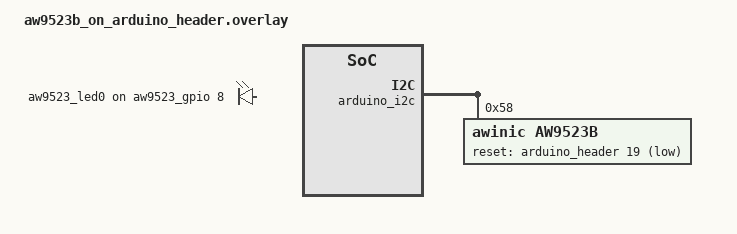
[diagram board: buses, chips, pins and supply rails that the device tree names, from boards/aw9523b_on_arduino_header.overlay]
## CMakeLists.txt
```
# SPDX-License-Identifier: Apache-2.0

cmake_minimum_required(VERSION 3.28.0)
find_package(Zephyr REQUIRED HINTS $ENV{ZEPHYR_BASE})
project(gpio_basic_api)

FILE(GLOB app_sources src/*.c)
target_sources(app PRIVATE ${app_sources})
```

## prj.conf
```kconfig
CONFIG_ZTEST=y
CONFIG_GPIO=y
```

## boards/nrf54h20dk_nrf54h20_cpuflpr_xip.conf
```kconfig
# Copyright (c) 2026 Nordic Semiconductor ASA
# SPDX-License-Identifier: Apache-2.0

CONFIG_GPIO_NRFX_INTERRUPT=n
```

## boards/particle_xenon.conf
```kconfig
CONFIG_I2C=y
CONFIG_GPIO_SX1509B_INTERRUPT=y
```

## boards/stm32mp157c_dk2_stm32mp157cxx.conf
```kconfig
# Copyright (c) 2019 Linaro Limited
# SPDX-License-Identifier: Apache-2.0


CONFIG_RAM_CONSOLE_BUFFER_SIZE=80000
```

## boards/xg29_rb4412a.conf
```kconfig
CONFIG_GPIO_GECKO=n
CONFIG_GPIO_SILABS=y
```

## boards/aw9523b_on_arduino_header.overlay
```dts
&arduino_i2c {
	status = "okay";

	aw9523b@58 {
		compatible = "awinic,aw9523b";
		reg = <0x58>;
		reset-gpios = <&arduino_header 19 (GPIO_ACTIVE_LOW | GPIO_PULL_UP)>;
		status = "okay";

		aw9523_gpio: gpio {
			compatible = "awinic,aw9523b-gpio";
			gpio-controller;
			#gpio-cells = <2>;
			port0-push-pull;
			int-gpios = <&arduino_header 18 (GPIO_ACTIVE_LOW | GPIO_PULL_UP)>;
		};
	};
};

/ {
	leds {
		aw9523_led0: aw9523_led0 {
			gpios = <&aw9523_gpio 8 0>;
		};
	};

	aliases {
		led0 = &aw9523_led0;
	};
};
```

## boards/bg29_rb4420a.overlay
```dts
/*
 * Copyright (c) 2025 Silicon Laboratories Inc.
 *
 * SPDX-License-Identifier: Apache-2.0
 */

/ {
	resources {
		compatible = "test-gpio-external-pulldown";
		gpios = <&gpioc 6 GPIO_ACTIVE_HIGH>;
	};
};
```

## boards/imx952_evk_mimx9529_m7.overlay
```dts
/*
 * SPDX-FileCopyrightText: Copyright 2026 NXP
 *
 * SPDX-License-Identifier: Apache-2.0
 */

/ {
	leds {
		compatible = "gpio-leds";

		test_led: test_led_0 {
			/* GPIO2 IO03 - general purpose GPIO pin on iMX952 EVK */
			gpios = <&gpio2 3 GPIO_ACTIVE_HIGH>;
			label = "Test LED";
		};
	};

	aliases {
		led0 = &test_led;
	};
};
```

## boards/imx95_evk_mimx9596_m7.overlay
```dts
/*
 * Copyright 2026 NXP
 *
 * SPDX-License-Identifier: Apache-2.0
 */

/ {
	leds {
		compatible = "gpio-leds";

		test_led: test_led_0 {
			/* GPIO2 IO00 - general purpose GPIO pin on iMX95 EVK */
			gpios = <&gpio2 3 GPIO_ACTIVE_HIGH>;
			label = "Test LED";
		};
	};

	aliases {
		led0 = &test_led;
	};
};
```

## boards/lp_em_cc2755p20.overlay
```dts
/*
 * Copyright (c) 2026 Texas Instruments Incorporated
 *
 * SPDX-License-Identifier: Apache-2.0
 */

/* DIO12 (led0) has a hardware pull-up on this board; remap to DIO16 */
&led0 {
	gpios = <&gpio0 16 GPIO_ACTIVE_HIGH>;
};
```

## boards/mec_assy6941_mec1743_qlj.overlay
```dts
/*
 * Copyright (c) 2025 Microchip Technologies, Inc.
 *
 * SPDX-License-Identifier: Apache-2.0
 */

/ {
	aliases {
		led0 = &led_3g;
	};

	gpio_led {
		compatible = "gpio-leds";

		led_3g: led_3g {
			gpios = <&gpio_140_176 15 GPIO_ACTIVE_HIGH>;
		};
	};
};
```

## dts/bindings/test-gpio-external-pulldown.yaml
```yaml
#
# Copyright (c) 2024 Andrew Featherstone <andrew.featherstone@gmail.com>
#
# SPDX-License-Identifier: Apache-2.0
#

description: |
    This binding provides resources required to build and run the
    tests/drivers/gpio/gpio_api_1pin test in Zephyr on certain hardware.

compatible: "test-gpio-external-pulldown"

properties:
  gpios:
    type: phandle-array
    required: true
    description: |
      Identity of a GPIO that will be configured as both an output and input.
```

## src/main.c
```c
/*
 * Copyright (c) 2019 Piotr Mienkowski
 *
 * SPDX-License-Identifier: Apache-2.0
 */

#include "test_gpio_api.h"

void test_main(void)
{
	ztest_test_suite(gpio_api_1pin_test,
		ztest_unit_test(test_gpio_pin_configure_push_pull),
		ztest_unit_test(test_gpio_pin_configure_single_ended),
		ztest_unit_test(test_gpio_pin_set_get_raw),
		ztest_unit_test(test_gpio_pin_set_get),
		ztest_unit_test(test_gpio_pin_set_get_active_high),
		ztest_unit_test(test_gpio_pin_set_get_active_low),
		ztest_unit_test(test_gpio_pin_toggle),
		ztest_unit_test(test_gpio_port_set_masked_get_raw),
		ztest_unit_test(test_gpio_port_set_masked_get),
		ztest_unit_test(test_gpio_port_set_masked_get_active_high),
		ztest_unit_test(test_gpio_port_set_masked_get_active_low),
		ztest_unit_test(test_gpio_port_set_bits_clear_bits_raw),
		ztest_unit_test(test_gpio_port_set_bits_clear_bits),
		ztest_unit_test(test_gpio_port_set_clr_bits_raw),
		ztest_unit_test(test_gpio_port_set_clr_bits),
		ztest_unit_test(test_gpio_port_toggle),
		ztest_unit_test(test_gpio_int_edge_rising),
		ztest_unit_test(test_gpio_int_edge_falling),
		ztest_unit_test(test_gpio_int_edge_both),
		ztest_unit_test(test_gpio_int_edge_to_active),
		ztest_unit_test(test_gpio_int_edge_to_inactive),
		ztest_unit_test(test_gpio_int_level_high_interrupt_count_1),
		ztest_unit_test(test_gpio_int_level_high_interrupt_count_5),
		ztest_unit_test(test_gpio_int_level_low_interrupt_count_1),
		ztest_unit_test(test_gpio_int_level_low_interrupt_count_5),
		ztest_unit_test(test_gpio_int_level_active),
		ztest_unit_test(test_gpio_int_level_inactive),
		ztest_unit_test(test_gpio_pin_toggle_visual));
	ztest_run_test_suite(gpio_api_1pin_test);
}
```

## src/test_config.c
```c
/*
 * Copyright (c) 2019 Piotr Mienkowski
 *
 * SPDX-License-Identifier: Apache-2.0
 */


#include <limits.h>
#include <zephyr/sys/util.h>
#include "test_gpio_api.h"

#define TEST_GPIO_MAX_SINGLE_ENDED_RISE_FALL_TIME_MS    100
#define TEST_POINT(n)   (n)

static void pin_get_raw_and_verify(const struct device *port,
				   unsigned int pin,
				   int val_expected, int idx)
{
	int val_actual;

	val_actual = gpio_pin_get_raw(port, pin);
	zassert_true(val_actual >= 0,
		     "Test point %d: failed to get pin value", idx);
	zassert_equal(val_expected, val_actual,
		      "Test point %d: invalid pin get value", idx);
}

static void pin_set_raw_and_verify(const struct device *port,
				   unsigned int pin,
				   int val, int idx)
{
	zassert_equal(gpio_pin_set_raw(port, pin, val), 0,
		      "Test point %d: failed to set pin value", idx);
	k_busy_wait(TEST_GPIO_MAX_RISE_FALL_TIME_US);
}

/** @brief Verify gpio_pin_configure function in push pull mode.
 *
 * - Configure pin in in/out mode, verify that gpio_pin_set_raw /
 *   gpio_pin_get_raw operations change pin state.
 * - Verify that GPIO_OUTPUT_HIGH flag is initializing the pin to high.
 * - Verify that GPIO_OUTPUT_LOW flag is initializing the pin to low.
 * - Verify that configuring the pin as an output without initializing it
 *   to high or low does not change pin state.
 * - Verify that it is not possible to change value of a pin via
 *   gpio_pin_set_raw function if pin is configured as an input.
 */
ZTEST(gpio_api_1pin_conf, test_gpio_pin_configure_push_pull)
{
	const struct device *port;
	int ret;

	port = DEVICE_DT_GET(TEST_NODE);
	zassert_true(device_is_ready(port), "GPIO dev is not ready");

	TC_PRINT("Running test on port=%s, pin=%d\n", port->name, TEST_PIN);

	ret = gpio_pin_configure(port, TEST_PIN, GPIO_OUTPUT);
	zassert_equal(ret, 0, "Failed to configure the pin as an output");

	pin_set_raw_and_verify(port, TEST_PIN, 1, TEST_POINT(1));
	pin_set_raw_and_verify(port, TEST_PIN, 0, TEST_POINT(1));

	/* Configure pin in in/out mode, verify that gpio_pin_set_raw /
	 * gpio_pin_get_raw operations change pin state.
	 */
	ret = gpio_pin_configure(port, TEST_PIN, GPIO_OUTPUT | GPIO_INPUT);
	if (ret == -ENOTSUP) {
		TC_PRINT("Simultaneous pin in/out mode is not supported.\n");
		ztest_test_skip();
		return;
	}
	zassert_equal(ret, 0, "Failed to configure the pin in in/out mode");

	pin_set_raw_and_verify(port, TEST_PIN, 0, TEST_POINT(2));
	pin_get_raw_and_verify(port, TEST_PIN, 0, TEST_POINT(2));

	pin_set_raw_and_verify(port, TEST_PIN, 1, TEST_POINT(3));
	pin_get_raw_and_verify(port, TEST_PIN, 1, TEST_POINT(3));

	pin_set_raw_and_verify(port, TEST_PIN, 0, TEST_POINT(4));
	pin_get_raw_and_verify(port, TEST_PIN, 0, TEST_POINT(4));

	/* Verify that GPIO_OUTPUT_HIGH flag is initializing the pin to high. */
	ret = gpio_pin_configure(port, TEST_PIN, GPIO_OUTPUT_HIGH | GPIO_INPUT);
	zassert_equal(ret, 0,
		      "Failed to configure the pin in in/out mode and "
		      "initialize it to high");

	pin_get_raw_and_verify(port, TEST_PIN, 1, TEST_POINT(5));

	/* Verify that configuring the pin as an output without initializing it
	 * to high or low does not change pin state.
	 */
	ret = gpio_pin_configure(port, TEST_PIN, GPIO_OUTPUT | GPIO_INPUT);
	zassert_equal(ret, 0, "Failed to configure the pin in in/out mode");

	pin_get_raw_and_verify(port, TEST_PIN, 1, TEST_POINT(6));

	/* Verify that GPIO_OUTPUT_LOW flag is initializing the pin to low. */
	ret = gpio_pin_configure(port, TEST_PIN, GPIO_OUTPUT_LOW | GPIO_INPUT);
	zassert_equal(ret, 0,
		      "Failed to configure the pin in in/out mode and "
		      "initialize it to low");

	pin_get_raw_and_verify(port, TEST_PIN, 0, TEST_POINT(7));

	/* Verify that configuring the pin as an output without initializing it
	 * to high or low does not change pin state.
	 */
	ret = gpio_pin_configure(port, TEST_PIN, GPIO_OUTPUT | GPIO_INPUT);
	zassert_equal(ret, 0, "Failed to configure the pin in in/out mode");

	pin_get_raw_and_verify(port, TEST_PIN, 0, TEST_POINT(8));

	/* Verify that it is not possible to change value of a pin via
	 * gpio_pin_set_raw function if pin is configured as an input.
	 */
	ret = gpio_pin_configure(port, TEST_PIN, GPIO_INPUT);
	zassert_equal(ret, 0, "Failed to configure the pin as an input");
	k_busy_wait(TEST_GPIO_MAX_RISE_FALL_TIME_US);

	int pin_in_val;

	pin_in_val = gpio_pin_get_raw(port, TEST_PIN);
	zassert_true(pin_in_val >= 0,
		     "Test point %d: failed to get pin value", TEST_POINT(9));

	pin_set_raw_and_verify(port, TEST_PIN, 0, TEST_POINT(10));
	pin_get_raw_and_verify(port, TEST_PIN, pin_in_val, TEST_POINT(10));

	pin_set_raw_and_verify(port, TEST_PIN, 1, TEST_POINT(11));
	pin_get_raw_and_verify(port, TEST_PIN, pin_in_val, TEST_POINT(11));
}

/** @brief Verify gpio_pin_configure function in single ended mode.
 *
 * @note This test verifies single ended mode only partially. It should not be
 *       used as a sign off test.
 *
 * - Verify that pin configured in Open Drain mode and initialized
 *   to high results in pin high value if the same pin configured
 *   as input is high. Drivers that do not support Open Drain flag
 *   return ENOTSUP.
 * - Setting pin configured in Open Drain mode to low results in
 *   pin low value if the same pin configured as input is high.
 * - Verify that pin configured in Open Source mode and
 *   initialized to low results in pin high value if the same pin
 *   configured as input is high. Drivers that do not support Open
 *   Source flag return ENOTSUP.
 * - Verify that pin configured in Open Source mode and
 *   initialized to low results in pin low value if the same pin
 *   configured as input is low. Drivers that do not support Open
 *   Source flag return ENOTSUP.
 * - Setting pin configured in Open Source mode to high results in
 *   pin high value if the same pin configured as input is low.
 * - Verify that pin configured in Open Drain mode and
 *   initialized to high results in pin low value if the same pin
 *   configured as input is low. Drivers that do not support Open
 *   Drain flag return ENOTSUP.
 */
ZTEST(gpio_api_1pin_conf, test_gpio_pin_configure_single_ended)
{
	const struct device *port;
	int pin_in_val;
	int pin_val;
	unsigned int cfg_flag;
	int ret;

	port = DEVICE_DT_GET(TEST_NODE);
	zassert_true(device_is_ready(port), "GPIO dev is not ready");

	TC_PRINT("Running test on port=%s, pin=%d\n", port->name, TEST_PIN);

	/* If the LED is connected directly between the MCU pin and power or
	 * ground we can test only one of the Open Drain / Open Source modes.
	 * Guess pin level when the LED is off. If the pin is not connected
	 * directly to LED but instead the signal is routed to an input of
	 * another chip we could test both modes. However, there is no way to
	 * find it out so only one mode is tested.
	 */
	if ((TEST_PIN_DTS_FLAGS & GPIO_ACTIVE_LOW) != 0) {
		cfg_flag = GPIO_PULL_UP;
		pin_val = 1;
	} else {
		cfg_flag = GPIO_PULL_DOWN;
		pin_val = 0;
	}

	/* Configure pin as an input with pull up/down and check input level. */
	ret = gpio_pin_configure(port, TEST_PIN, GPIO_INPUT | cfg_flag);
	if (ret == -ENOTSUP) {
		TC_PRINT("Pull Up / Pull Down pin bias is not supported\n");
		ztest_test_skip();
		return;
	}
	zassert_equal(ret, 0, "Failed to configure pin as an input");

	k_sleep(K_MSEC(TEST_GPIO_MAX_SINGLE_ENDED_RISE_FALL_TIME_MS));

	pin_in_val = gpio_pin_get_raw(port, TEST_PIN);
	zassert_true(pin_in_val >= 0, "Failed to get pin value");

	if (pin_val != pin_in_val) {
		TC_PRINT("Board configuration does not allow to run the test\n");
		ztest_test_skip();
		return;
	}

	if (pin_val == 1) {
		TC_PRINT("When configured as input test pin value is high\n");
		/* Verify that pin configured in Open Drain mode and initialized
		 * to high results in pin high value if the same pin configured
		 * as input is high. Drivers that do not support Open Drain flag
		 * return -ENOTSUP.
		 */
		ret = gpio_pin_configure(port, TEST_PIN, GPIO_OUTPUT_HIGH |
				GPIO_OPEN_DRAIN | GPIO_INPUT | GPIO_PULL_UP);
		if (ret == -ENOTSUP) {
			TC_PRINT("Open Drain configuration or Pull Up pin "
				 "bias is not supported\n");
			ztest_test_skip();
			return;
		}
		zassert_equal(ret, 0,
			      "Failed to configure the pin in Open Drain mode");

		pin_get_raw_and_verify(port, TEST_PIN, 1, TEST_POINT(1));

		/* Setting pin configured in Open Drain mode to low results in
		 * pin low value if the same pin configured as input is high.
		 */
		pin_set_raw_and_verify(port, TEST_PIN, 0, TEST_POINT(2));
		pin_get_raw_and_verify(port, TEST_PIN, 0, TEST_POINT(2));

		/* Verify that pin configured in Open Source mode and
		 * initialized to low results in pin high value if the same pin
		 * configured as input is high. Drivers that do not support Open
		 * Source flag return -ENOTSUP.
		 */
		ret = gpio_pin_configure(port, TEST_PIN, GPIO_OUTPUT_LOW |
				GPIO_OPEN_SOURCE | GPIO_INPUT | GPIO_PULL_UP);
		if (ret == -ENOTSUP) {
			TC_PRINT("Open Source configuration or Pull Up pin "
				 "bias is not supported\n");
			return;
		}
		zassert_equal(ret, 0,
			      "Failed to configure the pin in Open Source mode");

		k_sleep(K_MSEC(TEST_GPIO_MAX_SINGLE_ENDED_RISE_FALL_TIME_MS));

		pin_get_raw_and_verify(port, TEST_PIN, 1, TEST_POINT(3));

		pin_set_raw_and_verify(port, TEST_PIN, 0, TEST_POINT(4));
		pin_get_raw_and_verify(port, TEST_PIN, 1, TEST_POINT(4));
	} else {
		TC_PRINT("When configured as input test pin value is low\n");
		/* Verify that pin configured in Open Source mode and
		 * initialized to low results in pin low value if the same pin
		 * configured as input is low. Drivers that do not support Open
		 * Source flag return -ENOTSUP.
		 */
		ret = gpio_pin_configure(port, TEST_PIN, GPIO_OUTPUT_LOW |
				GPIO_OPEN_SOURCE | GPIO_INPUT | GPIO_PULL_DOWN);
		if (ret == -ENOTSUP) {
			TC_PRINT("Open Source configuration or Pull Down pin "
				 "bias is not supported\n");
			ztest_test_skip();
			return;
		}
		zassert_equal(ret, 0,
			      "Failed to configure the pin in Open Source mode");

		pin_get_raw_and_verify(port, TEST_PIN, 0, TEST_POINT(5));

		/* Setting pin configured in Open Source mode to high results in
		 * pin high value if the same pin configured as input is low.
		 */
		pin_set_raw_and_verify(port, TEST_PIN, 1, TEST_POINT(6));
		pin_get_raw_and_verify(port, TEST_PIN, 1, TEST_POINT(6));

		/* Verify that pin configured in Open Drain mode and
		 * initialized to high results in pin low value if the same pin
		 * configured as input is low. Drivers that do not support Open
		 * Drain flag return -ENOTSUP.
		 */
		ret = gpio_pin_configure(port, TEST_PIN, GPIO_OUTPUT_HIGH |
				GPIO_OPEN_DRAIN | GPIO_INPUT | GPIO_PULL_DOWN);
		if (ret == -ENOTSUP) {
			TC_PRINT("Open Drain configuration or Pull Down pin "
				 "bias is not supported\n");
			return;
		}
		zassert_equal(ret, 0,
			      "Failed to configure the pin in Open Drain mode");

		k_sleep(K_MSEC(TEST_GPIO_MAX_SINGLE_ENDED_RISE_FALL_TIME_MS));

		pin_get_raw_and_verify(port, TEST_PIN, 0, TEST_POINT(7));

		pin_set_raw_and_verify(port, TEST_PIN, 1, TEST_POINT(8));
		pin_get_raw_and_verify(port, TEST_PIN, 0, TEST_POINT(8));
	}
}

ZTEST_SUITE(gpio_api_1pin_conf, NULL, NULL, NULL, NULL, NULL);
```

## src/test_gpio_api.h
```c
/*
 * Copyright (c) 2019 Piotr Mienkowski
 *
 * SPDX-License-Identifier: Apache-2.0
 */

#ifndef TEST_GPIO_API_H_
#define TEST_GPIO_API_H_

#include <zephyr/kernel.h>
#include <zephyr/drivers/gpio.h>
#include <zephyr/ztest.h>

/* If possible, use a dedicated GPIO with an external pulldown resistor.
 * Otherwise, fallback to repurposing led0 as a GPIO. The latter won't always
 * work as expected when reconfigured as an input.
 */
#if DT_NODE_HAS_STATUS(DT_INST(0, test_gpio_external_pulldown), okay)
#define TEST_NODE          DT_GPIO_CTLR(DT_INST(0, test_gpio_external_pulldown), gpios)
#define TEST_PIN           DT_GPIO_PIN(DT_INST(0, test_gpio_external_pulldown), gpios)
#define TEST_PIN_DTS_FLAGS DT_GPIO_FLAGS(DT_INST(0, test_gpio_external_pulldown), gpios)
#elif DT_NODE_HAS_PROP(DT_ALIAS(led0), gpios)
#define TEST_NODE          DT_GPIO_CTLR(DT_ALIAS(led0), gpios)
#define TEST_PIN           DT_GPIO_PIN(DT_ALIAS(led0), gpios)
#define TEST_PIN_DTS_FLAGS DT_GPIO_FLAGS(DT_ALIAS(led0), gpios)
#else
#error Unsupported board
#endif

#define TEST_GPIO_MAX_RISE_FALL_TIME_US    200

void test_gpio_pin_configure_push_pull(void);
void test_gpio_pin_configure_single_ended(void);

void test_gpio_pin_set_get_raw(void);
void test_gpio_pin_set_get(void);
void test_gpio_pin_set_get_active_high(void);
void test_gpio_pin_set_get_active_low(void);
void test_gpio_pin_toggle(void);
void test_gpio_pin_toggle_visual(void);

void test_gpio_port_set_masked_get_raw(void);
void test_gpio_port_set_masked_get(void);
void test_gpio_port_set_masked_get_active_high(void);
void test_gpio_port_set_masked_get_active_low(void);
void test_gpio_port_set_bits_clear_bits_raw(void);
void test_gpio_port_set_bits_clear_bits(void);
void test_gpio_port_set_clr_bits_raw(void);
void test_gpio_port_set_clr_bits(void);
void test_gpio_port_toggle(void);

void test_gpio_int_edge_rising(void);
void test_gpio_int_edge_falling(void);
void test_gpio_int_edge_both(void);
void test_gpio_int_edge_to_active(void);
void test_gpio_int_edge_to_inactive(void);
void test_gpio_int_level_high_interrupt_count_1(void);
void test_gpio_int_level_high_interrupt_count_5(void);
void test_gpio_int_level_low_interrupt_count_1(void);
void test_gpio_int_level_low_interrupt_count_5(void);
void test_gpio_int_level_active(void);
void test_gpio_int_level_inactive(void);

#endif /* TEST_GPIO_API_H_ */
```

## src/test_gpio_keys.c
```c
/*
 * Copyright (c) 2022 Google LLC
 *
 * SPDX-License-Identifier: Apache-2.0
 */

#include "zephyr/sys/util.h"
#include <zephyr/device.h>
#include <zephyr/drivers/gpio/gpio_emul.h>
#include <zephyr/kernel.h>
#include <zephyr/logging/log.h>
#include <zephyr/ztest.h>

#include <zephyr/drivers/gpio_keys.h>

LOG_MODULE_REGISTER(gpio_keys_test, LOG_LEVEL_DBG);

#if DT_NODE_EXISTS(DT_NODELABEL(voldown_button))

const struct device *test_gpio_keys_dev = DEVICE_DT_GET(DT_PARENT(DT_NODELABEL(voldown_button)));
#define BUTTON_0_IDX DT_NODE_CHILD_IDX(DT_NODELABEL(voldown_button))
#define BUTTON_1_IDX DT_NODE_CHILD_IDX(DT_NODELABEL(volup_button))

struct gpio_keys_pin_config {
	/** GPIO specification from devicetree */
	struct gpio_dt_spec spec;
	/** Zephyr code from devicetree */
	uint32_t zephyr_code;
};
struct gpio_keys_config {
	/** Debounce interval in milliseconds from devicetree */
	uint32_t debounce_interval_ms;
	const int num_keys;
	const struct gpio_keys_pin_config *pin_cfg;
};

/**
 * @brief Test Suite: Verifies gpio_keys_config functionality.
 */
ZTEST_SUITE(gpio_keys, NULL, NULL, NULL, NULL, NULL);

/**
 * @brief TestPurpose: Verify gpio_keys_config pressed raw.
 *
 */
ZTEST(gpio_keys, test_gpio_keys_pressed)
{
	const struct gpio_keys_config *config = test_gpio_keys_dev->config;
	const struct gpio_keys_pin_config *pin_cfg = &config->pin_cfg[BUTTON_0_IDX];
	const struct gpio_dt_spec *spec = &pin_cfg->spec;

	zassert_ok(gpio_pin_configure(spec->port, spec->pin, GPIO_INPUT));

	zassert_ok(gpio_emul_input_set(spec->port, spec->pin, 1));
	zassert_equal(1, gpio_keys_get_pin(test_gpio_keys_dev, BUTTON_0_IDX));

	zassert_ok(gpio_emul_input_set(spec->port, spec->pin, 0));
	zassert_equal(0, gpio_keys_get_pin(test_gpio_keys_dev, BUTTON_0_IDX));
}

/**
 * @brief TestPurpose: Verify button interrupt.
 *
 */
uint32_t gpio_keys_interrupt_called;
void test_gpio_keys_cb_handler(const struct device *dev, struct gpio_keys_callback *cbdata,
			       uint32_t pins)
{
	LOG_DBG("GPIO_KEY %s pressed, pins=%d, zephyr_code=%u, pin_state=%d", dev->name, pins,
		cbdata->zephyr_code, cbdata->pin_state);
	gpio_keys_interrupt_called = cbdata->zephyr_code;
}

ZTEST(gpio_keys, test_gpio_keys_interrupt)
{
	int button_idx[] = {BUTTON_0_IDX, BUTTON_1_IDX};
	int num_gpio_keys = ARRAY_SIZE(button_idx);
	const struct gpio_keys_config *config = test_gpio_keys_dev->config;
	const struct gpio_keys_pin_config *pin_cfg;
	const struct gpio_dt_spec *spec;

	for (int i = 0; i < num_gpio_keys; i++) {
		pin_cfg = &config->pin_cfg[button_idx[i]];
		spec = &pin_cfg->spec;

		LOG_DBG("GPIO_KEY config=[0x%p, %d]", config->debounce_interval_ms,
			pin_cfg->zephyr_code);
		LOG_DBG("GPIO_KEY spec=[0x%p, %d]", spec->port, spec->pin);

		zassert_ok(gpio_pin_configure(spec->port, spec->pin, GPIO_INPUT));
		zassert_ok(gpio_keys_disable_interrupt(test_gpio_keys_dev), NULL);
		k_sleep(K_MSEC(500));

		/* Check interrupts are disabled */
		gpio_keys_interrupt_called = 0;
		zassert_ok(gpio_emul_input_set(spec->port, spec->pin, 0));
		k_sleep(K_MSEC(1000));
		zassert_ok(gpio_emul_input_set(spec->port, spec->pin, 1));
		k_sleep(K_MSEC(1000));
		zassert_equal(gpio_keys_interrupt_called, 0);

		zassert_ok(
			gpio_keys_enable_interrupt(test_gpio_keys_dev, test_gpio_keys_cb_handler),
			NULL);
		zassert_ok(gpio_emul_input_set(spec->port, spec->pin, 0));
		k_sleep(K_MSEC(1000));

		gpio_keys_interrupt_called = 0;
		zassert_ok(gpio_emul_input_set(spec->port, spec->pin, 1));

		/* Check interrupt doesn't prematurely fires */
		k_sleep(K_MSEC(config->debounce_interval_ms / 2));
		zassert_equal(gpio_keys_interrupt_called, 0);

		/* Check interrupt fires after debounce interval */
		k_sleep(K_MSEC(config->debounce_interval_ms));
		zassert_equal(gpio_keys_interrupt_called, pin_cfg->zephyr_code);
	}
}

#endif /* DT_NODE_EXISTS(DT_NODELABEL(voldown_button)) */
```

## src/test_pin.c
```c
/*
 * Copyright (c) 2019 Piotr Mienkowski
 *
 * SPDX-License-Identifier: Apache-2.0
 */


#include <limits.h>
#include <zephyr/sys/util.h>
#include "test_gpio_api.h"

static void pin_get_raw_and_verify(const struct device *port,
				   unsigned int pin,
				   int val_expected, int idx)
{
	int val_actual;

	val_actual = gpio_pin_get_raw(port, pin);
	zassert_true(val_actual >= 0,
		     "Test point %d: failed to get physical pin value", idx);
	zassert_equal(val_expected, val_actual,
		      "Test point %d: invalid physical pin get value", idx);
}

static void pin_get_and_verify(const struct device *port, unsigned int pin,
			       int val_expected, int idx)
{
	int val_actual;

	val_actual = gpio_pin_get(port, pin);
	zassert_true(val_actual >= 0,
		     "Test point %d: failed to get logical pin value", idx);
	zassert_equal(val_expected, val_actual,
		      "Test point %d: invalid logical pin get value", idx);
}

static void pin_set_raw_and_verify(const struct device *port,
				   unsigned int pin,
				   int val, int idx)
{
	zassert_equal(gpio_pin_set_raw(port, pin, val), 0,
		      "Test point %d: failed to set physical pin value", idx);
	k_busy_wait(TEST_GPIO_MAX_RISE_FALL_TIME_US);
}

static void pin_set_and_verify(const struct device *port, unsigned int pin,
			       int val,
			       int idx)
{
	zassert_equal(gpio_pin_set(port, pin, val), 0,
		      "Test point %d: failed to set logical pin value", idx);
	k_busy_wait(TEST_GPIO_MAX_RISE_FALL_TIME_US);
}

/** @brief Verify gpio_pin_toggle function.
 *
 * - Verify that gpio_pin_toggle function changes pin state from active to
 *   inactive and vice versa.
 */
ZTEST(gpio_api_1pin_pin, test_gpio_pin_toggle)
{
	const struct device *port;
	int val_expected;
	int ret;

	port = DEVICE_DT_GET(TEST_NODE);
	zassert_true(device_is_ready(port), "GPIO dev is not ready");

	TC_PRINT("Running test on port=%s, pin=%d\n", device_name_get(port), TEST_PIN);

	ret = gpio_pin_configure(port, TEST_PIN, GPIO_OUTPUT | GPIO_INPUT);
	if (ret == -ENOTSUP) {
		TC_PRINT("Simultaneous pin in/out mode is not supported.\n");
		ztest_test_skip();
		return;
	}
	zassert_equal(ret, 0, "Failed to configure the pin");

	pin_set_raw_and_verify(port, TEST_PIN, 1, 0);

	for (int i = 0; i < 5; i++) {
		ret = gpio_pin_toggle(port, TEST_PIN);
		zassert_equal(ret, 0, "Failed to toggle pin value");
		k_busy_wait(TEST_GPIO_MAX_RISE_FALL_TIME_US);

		val_expected = i % 2;

		pin_get_raw_and_verify(port, TEST_PIN, val_expected, i);
	}
}

/** @brief Verify visually gpio_pin_toggle function.
 *
 * This test configures the pin using board DTS flags which should
 * correctly set pin active state via GPIO_ACTIVE_LOW/_HIGH flags.
 * It is possible to do a visual check to confirm that "LED ON", "LED OFF"
 * messages correspond to the LED being turned ON or OFF.
 *
 * - Verify visually that gpio_pin_toggle function changes pin state from active
 *   to inactive and vice versa.
 */
ZTEST(gpio_api_1pin_pin, test_gpio_pin_toggle_visual)
{
	const struct device *port;
	int val_expected;
	int ret;

	port = DEVICE_DT_GET(TEST_NODE);
	zassert_true(device_is_ready(port), "GPIO dev is not ready");

	TC_PRINT("Running test on port=%s, pin=%d\n", device_name_get(port), TEST_PIN);

	ret = gpio_pin_configure(port, TEST_PIN, GPIO_OUTPUT |
				 TEST_PIN_DTS_FLAGS);
	zassert_equal(ret, 0, "Failed to configure the pin");

	pin_set_and_verify(port, TEST_PIN, 1, 0);
	TC_PRINT("LED ON\n");

	for (int i = 0; i < 3; i++) {
		k_sleep(K_SECONDS(2));

		ret = gpio_pin_toggle(port, TEST_PIN);
		zassert_equal(ret, 0, "Failed to toggle pin value");
		k_busy_wait(TEST_GPIO_MAX_RISE_FALL_TIME_US);

		val_expected = i % 2;
		TC_PRINT("LED %s\n", val_expected == 1 ? "ON" : "OFF");
	}
}

/** @brief Verify gpio_pin_set_raw, gpio_pin_get_raw functions.
 *
 * - Verify that gpio_pin_get_raw reads the same value as set by
 *   gpio_pin_set_raw function.
 */
ZTEST(gpio_api_1pin_pin, test_gpio_pin_set_get_raw)
{
	const struct device *port;
	int val_expected;
	int ret;

	const int test_vector[] = {
		4, 1, 45, 0, 0, -7, 0, 0, 0, INT_MAX, INT_MIN, 0
	};

	port = DEVICE_DT_GET(TEST_NODE);
	zassert_true(device_is_ready(port), "GPIO dev is not ready");

	TC_PRINT("Running test on port=%s, pin=%d\n", device_name_get(port), TEST_PIN);

	ret = gpio_pin_configure(port, TEST_PIN, GPIO_OUTPUT | GPIO_INPUT);
	if (ret == -ENOTSUP) {
		TC_PRINT("Simultaneous pin in/out mode is not supported.\n");
		ztest_test_skip();
		return;
	}
	zassert_equal(ret, 0, "Failed to configure the pin");

	for (int i = 0; i < ARRAY_SIZE(test_vector); i++) {
		pin_set_raw_and_verify(port, TEST_PIN, test_vector[i], i);

		val_expected = test_vector[i] != 0 ? 1 : 0;

		pin_get_raw_and_verify(port, TEST_PIN, val_expected, i);
	}
}

/** @brief Verify gpio_pin_set, gpio_pin_get functions.
 *
 * - Verify that gpio_pin_get reads the same value as set by gpio_pin_set
 *   function.
 */
ZTEST(gpio_api_1pin_pin, test_gpio_pin_set_get)
{
	const struct device *port;
	int val_expected;
	int ret;

	const int test_vector[] = {
		1, 2, 3, 0, 4, 0, 0, 0, 17, INT_MAX, INT_MIN, 0
	};

	port = DEVICE_DT_GET(TEST_NODE);
	zassert_true(device_is_ready(port), "GPIO dev is not ready");

	TC_PRINT("Running test on port=%s, pin=%d\n", device_name_get(port), TEST_PIN);

	ret = gpio_pin_configure(port, TEST_PIN, GPIO_OUTPUT | GPIO_INPUT);
	if (ret == -ENOTSUP) {
		TC_PRINT("Simultaneous pin in/out mode is not supported.\n");
		ztest_test_skip();
		return;
	}
	zassert_equal(ret, 0, "Failed to configure the pin");

	for (int i = 0; i < ARRAY_SIZE(test_vector); i++) {
		pin_set_and_verify(port, TEST_PIN, test_vector[i], i);

		val_expected = test_vector[i] != 0 ? 1 : 0;

		pin_get_and_verify(port, TEST_PIN, val_expected, i);
	}
}

/** @brief Verify GPIO_ACTIVE_HIGH flag.
 *
 * - Verify that there is no functional difference between gpio_pin_set_raw and
 *   gpio_pin_set functions if the pin is configured as Active High.
 * - Verify that there is no functional difference between gpio_pin_get_raw and
 *   gpio_pin_get functions if the pin is configured as Active High.
 */
ZTEST(gpio_api_1pin_pin, test_gpio_pin_set_get_active_high)
{
	const struct device *port;
	int val_expected;
	int ret;

	const int test_vector[] = {0, 2, 0, 9, -1, 0, 0, 1, INT_MAX, INT_MIN};

	port = DEVICE_DT_GET(TEST_NODE);
	zassert_true(device_is_ready(port), "GPIO dev is not ready");

	TC_PRINT("Running test on port=%s, pin=%d\n", device_name_get(port), TEST_PIN);

	ret = gpio_pin_configure(port, TEST_PIN, GPIO_OUTPUT | GPIO_INPUT |
				 GPIO_ACTIVE_HIGH);
	if (ret == -ENOTSUP) {
		TC_PRINT("Simultaneous pin in/out mode is not supported.\n");
		ztest_test_skip();
		return;
	}
	zassert_equal(ret, 0, "Failed to configure the pin");

	TC_PRINT("Step 1: Set logical, get logical and physical pin value\n");
	for (int i = 0; i < ARRAY_SIZE(test_vector); i++) {
		pin_set_and_verify(port, TEST_PIN, test_vector[i], i);

		val_expected = test_vector[i] != 0 ? 1 : 0;

		pin_get_and_verify(port, TEST_PIN, val_expected, i);
		pin_get_raw_and_verify(port, TEST_PIN, val_expected, i);
	}

	TC_PRINT("Step 2: Set physical, get logical and physical pin value\n");
	for (int i = 0; i < ARRAY_SIZE(test_vector); i++) {
		pin_set_raw_and_verify(port, TEST_PIN, test_vector[i], i);

		val_expected = test_vector[i] != 0 ? 1 : 0;

		pin_get_and_verify(port, TEST_PIN, val_expected, i);
		pin_get_raw_and_verify(port, TEST_PIN, val_expected, i);
	}
}

/** @brief Verify GPIO_ACTIVE_LOW flag.
 *
 * - Verify that value set by gpio_pin_set function is inverted compared to
 *   gpio_pin_set_raw if the pin is configured as Active Low.
 * - Verify that value read by gpio_pin_get function is inverted compared to
 *   gpio_pin_get_raw if the pin is configured as Active Low.
 */
ZTEST(gpio_api_1pin_pin, test_gpio_pin_set_get_active_low)
{
	const struct device *port;
	int val_expected, val_raw_expected;
	int ret;

	const int test_vector[] = {0, 4, 0, 0, 1, 8, -3, -12, 0};

	port = DEVICE_DT_GET(TEST_NODE);
	zassert_true(device_is_ready(port), "GPIO dev is not ready");

	TC_PRINT("Running test on port=%s, pin=%d\n", device_name_get(port), TEST_PIN);

	ret = gpio_pin_configure(port, TEST_PIN, GPIO_OUTPUT | GPIO_INPUT |
				 GPIO_ACTIVE_LOW);
	if (ret == -ENOTSUP) {
		TC_PRINT("Simultaneous pin in/out mode is not supported.\n");
		ztest_test_skip();
		return;
	}
	zassert_equal(ret, 0, "Failed to configure the pin");

	TC_PRINT("Step 1: Set logical, get logical and physical pin value\n");
	for (int i = 0; i < ARRAY_SIZE(test_vector); i++) {
		pin_set_and_verify(port, TEST_PIN, test_vector[i], i);

		val_expected = (test_vector[i] != 0) ? 1 : 0;
		val_raw_expected = (val_expected != 0) ? 0 : 1;

		pin_get_and_verify(port, TEST_PIN, val_expected, i);
		pin_get_raw_and_verify(port, TEST_PIN, val_raw_expected, i);
	}

	TC_PRINT("Step 2: Set physical, get logical and physical pin value\n");
	for (int i = 0; i < ARRAY_SIZE(test_vector); i++) {
		pin_set_raw_and_verify(port, TEST_PIN, test_vector[i], i);

		val_expected = (test_vector[i] != 0) ? 0 : 1;
		val_raw_expected = (val_expected != 0) ? 0 : 1;

		pin_get_and_verify(port, TEST_PIN, val_expected, i);
		pin_get_raw_and_verify(port, TEST_PIN, val_raw_expected, i);
	}
}

ZTEST_SUITE(gpio_api_1pin_pin, NULL, NULL, NULL, NULL, NULL);
```

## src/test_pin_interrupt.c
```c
/*
 * Copyright (c) 2019 Piotr Mienkowski
 *
 * SPDX-License-Identifier: Apache-2.0
 */


#include <limits.h>
#include <zephyr/sys/util.h>
#include "test_gpio_api.h"

struct gpio_callback gpio_cb;
static int cb_count;
static int cb_count_target;

static void callback_edge(const struct device *port, struct gpio_callback *cb,
			  gpio_port_pins_t pins)
{
	zassert_equal(pins, BIT(TEST_PIN),
		     "Detected interrupt on an invalid pin");
	cb_count++;
}

static void callback_level(const struct device *port,
			   struct gpio_callback *cb,
			   gpio_port_pins_t pins)
{
	int ret;

	zassert_equal(pins, BIT(TEST_PIN),
		     "Detected interrupt on an invalid pin");

	cb_count++;
	if (cb_count % cb_count_target == 0) {
		ret = gpio_pin_interrupt_configure(port, TEST_PIN, GPIO_INT_DISABLE);
		zassert_equal(ret, 0,
				  "Failed to disable pin interrupt in the callback");
	}
}

static void pin_set_and_verify(const struct device *port, unsigned int pin,
			       int val,
			       int idx)
{
	zassert_equal(gpio_pin_set(port, pin, val), 0,
		      "Test point %d: failed to set logical pin value", idx);
	k_busy_wait(TEST_GPIO_MAX_RISE_FALL_TIME_US);
}

void test_gpio_pin_interrupt_edge(unsigned int cfg_flags,
				  unsigned int int_flags)
{
	const struct device *port;
	int cb_count_expected;
	unsigned int cfg_out_flag;
	int ret;

	port = DEVICE_DT_GET(TEST_NODE);
	zassert_true(device_is_ready(port), "GPIO dev is not ready");

	TC_PRINT("Running test on port=%s, pin=%d\n", port->name, TEST_PIN);

	ret = gpio_pin_configure(port, TEST_PIN, GPIO_INPUT | GPIO_OUTPUT);
	if (ret == -ENOTSUP) {
		TC_PRINT("Simultaneous pin in/out mode is not supported.\n");
		ztest_test_skip();
		return;
	}
	zassert_equal(ret, 0, "Failed to configure the pin");

	if ((cfg_flags & GPIO_ACTIVE_LOW) != 0) {
		cfg_out_flag = GPIO_OUTPUT_HIGH;
	} else {
		cfg_out_flag = GPIO_OUTPUT_LOW;
	}
	ret = gpio_pin_configure(port, TEST_PIN, GPIO_INPUT | cfg_out_flag |
				 cfg_flags);
	zassert_equal(ret, 0, "Failed to configure the pin");

	cb_count = 0;
	cb_count_expected = 0;

	gpio_init_callback(&gpio_cb, callback_edge, BIT(TEST_PIN));
	ret = gpio_add_callback(port, &gpio_cb);
	if (ret == -ENOTSUP || ret == -ENOSYS) {
		ztest_test_skip();
		return;
	}

	ret = gpio_pin_interrupt_configure(port, TEST_PIN, int_flags);
	if (ret == -ENOTSUP || ret == -ENOSYS) {
		TC_PRINT("Pin interrupt is not supported.\n");
		ztest_test_skip();
		return;
	}
	zassert_equal(ret, 0, "Failed to configure pin interrupt");

	for (int i = 0; i < 6; i++) {
		pin_set_and_verify(port, TEST_PIN, 1, i);
		if (int_flags & GPIO_INT_HIGH_1) {
			cb_count_expected++;
		}
		zassert_equal(cb_count, cb_count_expected,
			      "Test point %d: Pin interrupt triggered invalid "
			      "number of times on rising/to active edge", i);

		pin_set_and_verify(port, TEST_PIN, 0, i);
		if (int_flags & GPIO_INT_LOW_0) {
			cb_count_expected++;
		}
		zassert_equal(cb_count, cb_count_expected,
			      "Test point %d: Pin interrupt triggered invalid "
			      "number of times on falling/to inactive edge", i);
	}

	ret = gpio_pin_interrupt_configure(port, TEST_PIN, GPIO_INT_DISABLE);
	zassert_equal(ret, 0, "Failed to disable pin interrupt");

	for (int i = 0; i < 6; i++) {
		pin_set_and_verify(port, TEST_PIN, 1, i);
		pin_set_and_verify(port, TEST_PIN, 0, i);
		zassert_equal(cb_count, cb_count_expected,
			      "Pin interrupt triggered when disabled");
	}
}

void test_gpio_pin_interrupt_level(unsigned int cfg_flags,
				   unsigned int int_flags, unsigned int interrupt_calls)
{
	const struct device *port;
	int cb_count_expected;
	unsigned int cfg_out_flag;
	int pin_out_val;
	int ret;

	port = DEVICE_DT_GET(TEST_NODE);
	zassert_true(device_is_ready(port), "GPIO dev is not ready");

	TC_PRINT("Running test on port=%s, pin=%d\n", port->name, TEST_PIN);

	ret = gpio_pin_configure(port, TEST_PIN, GPIO_INPUT | GPIO_OUTPUT);
	if (ret == -ENOTSUP) {
		TC_PRINT("Simultaneous pin in/out mode is not supported.\n");
		ztest_test_skip();
		return;
	}
	zassert_equal(ret, 0, "Failed to configure the pin");

	pin_out_val = ((int_flags & GPIO_INT_HIGH_1) != 0) ? 0 : 1;

	if ((cfg_flags & GPIO_ACTIVE_LOW) != 0) {
		cfg_out_flag = (pin_out_val != 0) ? GPIO_OUTPUT_LOW :
						    GPIO_OUTPUT_HIGH;
	} else {
		cfg_out_flag = (pin_out_val != 0) ? GPIO_OUTPUT_HIGH :
						    GPIO_OUTPUT_LOW;
	}

	ret = gpio_pin_configure(port, TEST_PIN, GPIO_INPUT | cfg_out_flag |
				 cfg_flags);
	zassert_equal(ret, 0, "Failed to configure the pin");

	cb_count = 0;
	cb_count_expected = 0;
	cb_count_target = interrupt_calls;

	gpio_init_callback(&gpio_cb, callback_level, BIT(TEST_PIN));
	ret = gpio_add_callback(port, &gpio_cb);
	if (ret == -ENOTSUP || ret == -ENOSYS) {
		ztest_test_skip();
		return;
	}

	ret = gpio_pin_interrupt_configure(port, TEST_PIN, int_flags);
	if (ret == -ENOTSUP || ret == -ENOSYS) {
		TC_PRINT("Pin interrupt is not supported.\n");
		ztest_test_skip();
		return;
	}
	zassert_equal(ret, 0, "Failed to configure pin interrupt");

	zassert_equal(cb_count, cb_count_expected,
		      "Pin interrupt triggered on level %d", pin_out_val);

	for (int i = 0; i < 6; i++) {
		pin_out_val = (pin_out_val != 0) ? 0 : 1;
		pin_set_and_verify(port, TEST_PIN, pin_out_val, i);
		cb_count_expected += interrupt_calls;
		zassert_equal(cb_count, cb_count_expected,
			      "Test point %d: Pin interrupt triggered invalid "
			      "number of times on level %d", i, pin_out_val);

		pin_out_val = (pin_out_val != 0) ? 0 : 1;
		pin_set_and_verify(port, TEST_PIN, pin_out_val, i);
		zassert_equal(cb_count, cb_count_expected,
			      "Test point %d: Pin interrupt triggered invalid "
			      "number of times on level %d", i, pin_out_val);

		/* Re-enable pin level interrupt */
		ret = gpio_pin_interrupt_configure(port, TEST_PIN, int_flags);
		zassert_equal(ret, 0,
			      "Failed to re-enable pin level interrupt");
	}

	ret = gpio_pin_interrupt_configure(port, TEST_PIN, GPIO_INT_DISABLE);
	zassert_equal(ret, 0, "Failed to disable pin interrupt");

	for (int i = 0; i < 6; i++) {
		pin_set_and_verify(port, TEST_PIN, 1, i);
		pin_set_and_verify(port, TEST_PIN, 0, i);
		zassert_equal(cb_count, cb_count_expected,
			      "Pin interrupt triggered when disabled");
	}
}

/** @brief Verify GPIO_INT_EDGE_RISING flag. */
ZTEST(gpio_api_1pin_int, test_gpio_int_edge_rising)
{
	test_gpio_pin_interrupt_edge(0, GPIO_INT_EDGE_RISING);
}

/** @brief Verify GPIO_INT_EDGE_FALLING flag. */
ZTEST(gpio_api_1pin_int, test_gpio_int_edge_falling)
{
	test_gpio_pin_interrupt_edge(0, GPIO_INT_EDGE_FALLING);
}

/** @brief Verify GPIO_INT_EDGE_BOTH flag. */
ZTEST(gpio_api_1pin_int, test_gpio_int_edge_both)
{
	test_gpio_pin_interrupt_edge(0, GPIO_INT_EDGE_BOTH);
}

/** @brief Verify GPIO_INT_EDGE_TO_ACTIVE flag. */
ZTEST(gpio_api_1pin_int, test_gpio_int_edge_to_active)
{
	TC_PRINT("Step 1: Configure pin as active high\n");
	test_gpio_pin_interrupt_edge(GPIO_ACTIVE_HIGH, GPIO_INT_EDGE_TO_ACTIVE);
	TC_PRINT("Step 2: Configure pin as active low\n");
	test_gpio_pin_interrupt_edge(GPIO_ACTIVE_LOW, GPIO_INT_EDGE_TO_ACTIVE);
}

/** @brief Verify GPIO_INT_EDGE_TO_INACTIVE flag. */
ZTEST(gpio_api_1pin_int, test_gpio_int_edge_to_inactive)
{
	TC_PRINT("Step 1: Configure pin as active high\n");
	test_gpio_pin_interrupt_edge(GPIO_ACTIVE_HIGH, GPIO_INT_EDGE_TO_INACTIVE);
	TC_PRINT("Step 2: Configure pin as active low\n");
	test_gpio_pin_interrupt_edge(GPIO_ACTIVE_LOW, GPIO_INT_EDGE_TO_INACTIVE);
}

/** @brief Verify GPIO_INT_LEVEL_HIGH flag with 1 interrupt call */
ZTEST(gpio_api_1pin_int, test_gpio_int_level_high_interrupt_count_1)
{
	test_gpio_pin_interrupt_level(0, GPIO_INT_LEVEL_HIGH, 1);
}

/** @brief Verify GPIO_INT_LEVEL_HIGH flag with 5 interrupt call */
ZTEST(gpio_api_1pin_int, test_gpio_int_level_high_interrupt_count_5)
{
	test_gpio_pin_interrupt_level(0, GPIO_INT_LEVEL_HIGH, 5);
}

/** @brief Verify GPIO_INT_LEVEL_LOW flag with 1 interrupt call */
ZTEST(gpio_api_1pin_int, test_gpio_int_level_low_interrupt_count_1)
{
	test_gpio_pin_interrupt_level(0, GPIO_INT_LEVEL_LOW, 1);
}

/** @brief Verify GPIO_INT_LEVEL_LOW flag with 5 interrupt call */
ZTEST(gpio_api_1pin_int, test_gpio_int_level_low_interrupt_count_5)
{
	test_gpio_pin_interrupt_level(0, GPIO_INT_LEVEL_LOW, 5);
}

/** @brief Verify GPIO_INT_LEVEL_ACTIVE flag. */
ZTEST(gpio_api_1pin_int, test_gpio_int_level_active)
{
	TC_PRINT("Step 1: Configure pin as active high\n");
	test_gpio_pin_interrupt_level(GPIO_ACTIVE_HIGH, GPIO_INT_LEVEL_ACTIVE, 1);
	TC_PRINT("Step 2: Configure pin as active low\n");
	test_gpio_pin_interrupt_level(GPIO_ACTIVE_LOW, GPIO_INT_LEVEL_ACTIVE, 1);
}

/** @brief Verify GPIO_INT_LEVEL_INACTIVE flag. */
ZTEST(gpio_api_1pin_int, test_gpio_int_level_inactive)
{
	TC_PRINT("Step 1: Configure pin as active high\n");
	test_gpio_pin_interrupt_level(GPIO_ACTIVE_HIGH, GPIO_INT_LEVEL_INACTIVE, 1);
	TC_PRINT("Step 2: Configure pin as active low\n");
	test_gpio_pin_interrupt_level(GPIO_ACTIVE_LOW, GPIO_INT_LEVEL_INACTIVE, 1);
}

ZTEST_SUITE(gpio_api_1pin_int, NULL, NULL, NULL, NULL, NULL);
```
